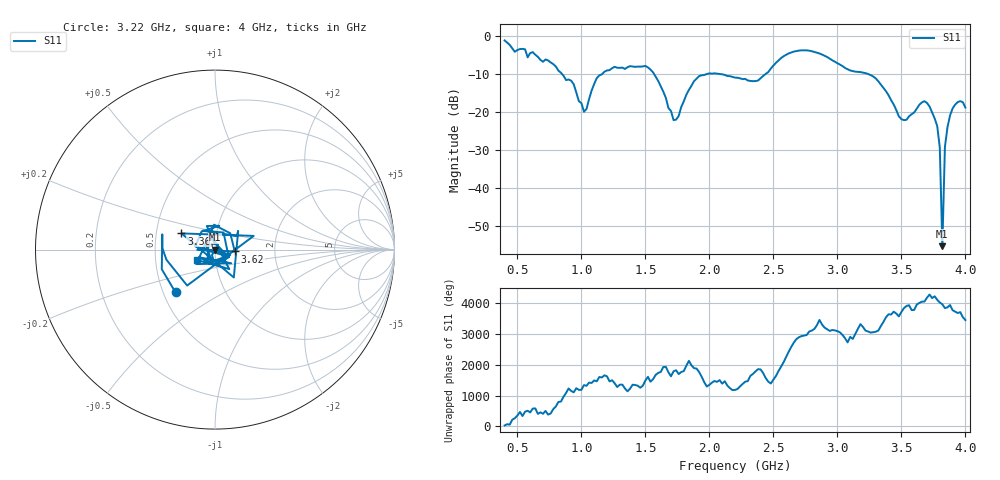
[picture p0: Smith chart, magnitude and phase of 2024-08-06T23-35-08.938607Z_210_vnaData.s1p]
!Created with skrf (http://scikit-rf.org).
# Hz S RI R 50.0
!freq ReS11 ImS11
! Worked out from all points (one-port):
!   181 points, 400 MHz to 4 GHz, reference 50 ohm
!   lowest |S11| = -55.2 dB at 3.82 GHz (marker M1), VSWR 1.00, Z = 50.2 + j0.00989 ohm
!   |S11| at or under -10 dB: 1.568 GHz to 1.982 GHz (414.1 MHz wide, 23.3 % of centre); 2.075 GHz to 2.439 GHz (364.4 MHz wide, 16.1 % of centre); 3.24 GHz to end of sweep (the widest 3 of 4)
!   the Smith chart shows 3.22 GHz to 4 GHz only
!   S11 on the Smith chart (normalised r, x): 3.22 GHz: 0.58, -0.31; 3.36 GHz: 0.68, +0.13; 3.62 GHz: 1.25, -0.03; 4 GHz: 0.82, -0.10
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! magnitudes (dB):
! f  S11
! 400 MHz  -1.2
! 860 MHz  -10.4
! 940 MHz  -12.7
! 1.02 GHz  -19.9
! 1.12 GHz  -11.1
! 1.3 GHz  -8.4
! 1.52 GHz  -8.3
! 1.6 GHz  -11.8
! 1.72 GHz  -22.1
! 1.76 GHz  -21.0
! 1.92 GHz  -10.6
! 2.2 GHz  -11.0
! 2.38 GHz  -11.7
! 2.66 GHz  -4.1
! 3.1 GHz  -9.1
! 3.22 GHz  -9.8
! 3.36 GHz  -13.7
! 3.5 GHz  -21.9
! 3.56 GHz  -21.1
! 3.62 GHz  -19.1
! 3.7 GHz  -17.6
! 3.78 GHz  -23.7
! 3.8 GHz  -29.3
! 3.82 GHz  -55.2
! 3.84 GHz  -29.2
! 3.86 GHz  -24.0
! 3.92 GHz  -18.0
! 4 GHz  -18.8
